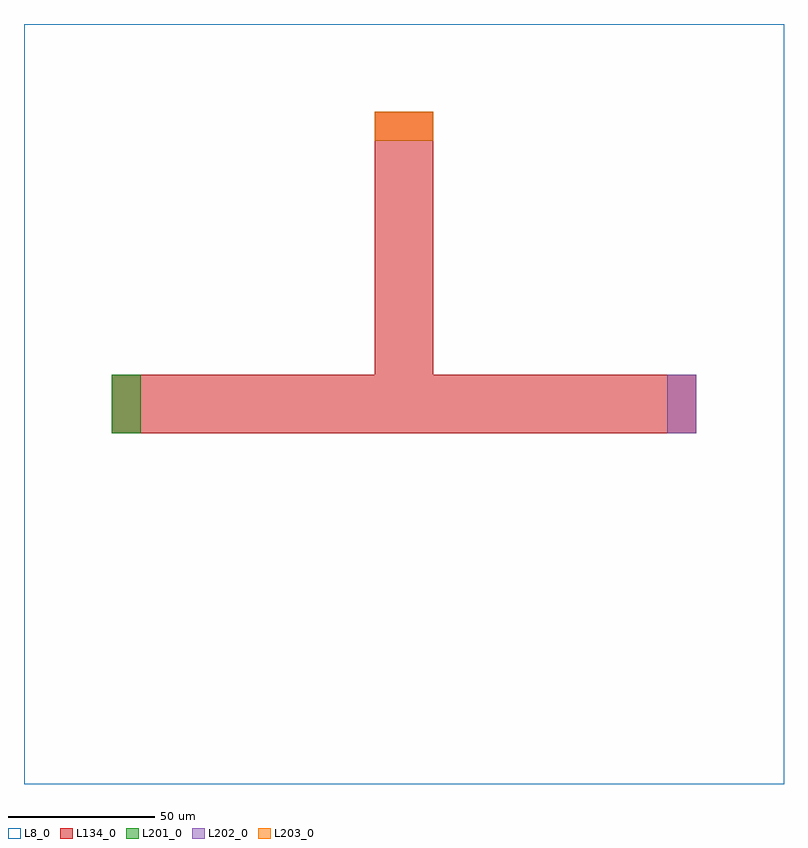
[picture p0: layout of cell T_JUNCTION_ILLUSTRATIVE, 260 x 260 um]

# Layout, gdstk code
import gdstk
lib = gdstk.Library(unit=1e-6, precision=1e-09)
def R(c, l, rs):  # rectangles x0, y0, x1, y1
    for r in rs: c.add(gdstk.rectangle(r[:2], r[2:], *l))
L8_0 = (8, 0)
L134_0 = (134, 0)
L201_0 = (201, 0)
L202_0 = (202, 0)
L203_0 = (203, 0)

t_junction_illustrative = lib.new_cell('T_JUNCTION_ILLUSTRATIVE')
R(t_junction_illustrative, L8_0, [(-130,-130,130,130)])
R(t_junction_illustrative, L134_0, [(-100,-10,100,10), (-10,-10,10,100)])
R(t_junction_illustrative, L201_0, [(-100,-10,-90,10)])
R(t_junction_illustrative, L202_0, [(90,-10,100,10)])
R(t_junction_illustrative, L203_0, [(-10,90,10,100)])

lib.write_gds('T_JUNCTION_ILLUSTRATIVE.gds')
